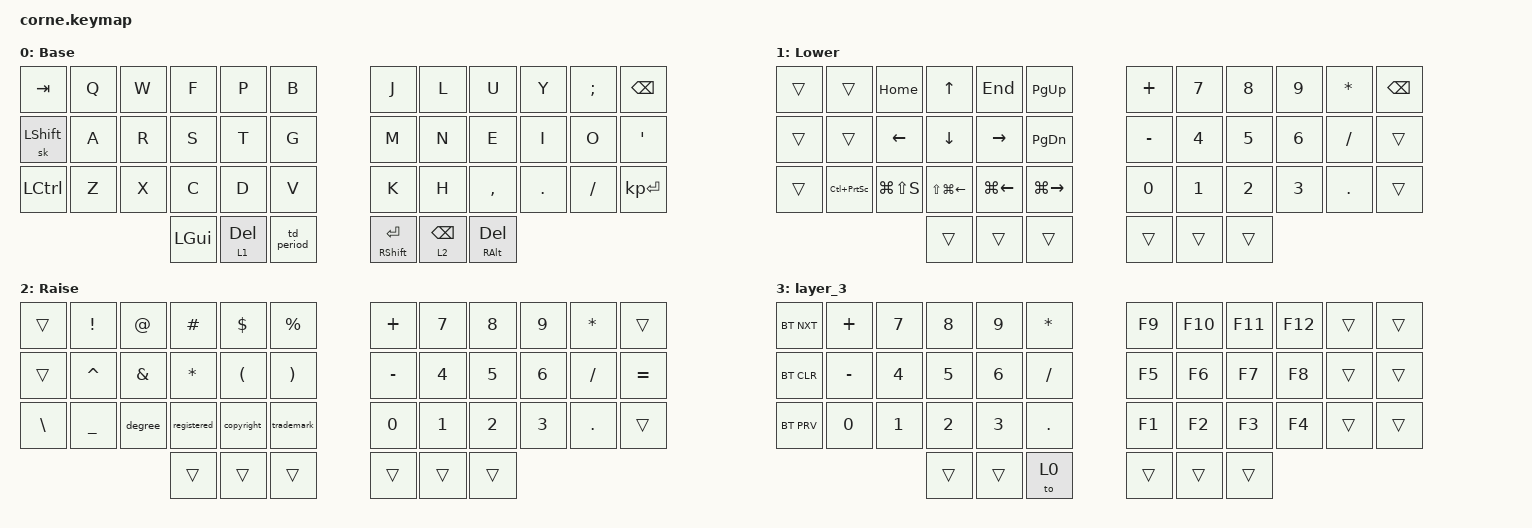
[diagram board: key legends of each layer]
/*
 * Copyright (c) 2020 The ZMK Contributors
 *
 * SPDX-License-Identifier: MIT
 */

#include <behaviors.dtsi>
#include <dt-bindings/zmk/bt.h>
#include <dt-bindings/zmk/keys.h>

/ {
    behaviors {
        td_period: td_period {
            compatible = "zmk,behavior-tap-dance";
            label = "TD_PERIOD";
            #binding-cells = <0>;
            tapping-term-ms = <200>;
            bindings = <&kp SPACE>, <&kp PERIOD>;
        };

        as_ht: autoshift_hold_tap {
            compatible = "zmk,behavior-hold-tap";
            label = "AUTOSHIFT_HOLD_TAP";
            bindings = <&shift>, <&kp>;

            #binding-cells = <2>;
            tapping-term-ms = <200>;
        };
    };

    macros {
        shift: with_lshift {
            compatible = "zmk,behavior-macro-one-param";
            #binding-cells = <1>;
            bindings =
                <&macro_press>,
                <&kp LSHFT>,
                <&macro_tap>,
                <&macro_param_1to1 &kp MACRO_PLACEHOLDER>,
                <&macro_release>,
                <&kp LSHFT>;

            label = "KEY_PRESS_WITH_LEFT_SHIFT_MODIFIER";
        };

        as: as {
            compatible = "zmk,behavior-macro-one-param";
            #binding-cells = <1>;
            bindings =
                <&macro_press>,
                <&macro_param_1to1 &macro_param_1to2 &as_ht MACRO_PLACEHOLDER MACRO_PLACEHOLDER>,
                <&macro_pause_for_release>,
                <&macro_release>,
                <&macro_param_1to1 &macro_param_1to2 &as_ht MACRO_PLACEHOLDER MACRO_PLACEHOLDER>;

            label = "AS";
        };

        degree: degree {
            compatible = "zmk,behavior-macro";
            #binding-cells = <0>;
            bindings =
                <&macro_press>,
                <&kp LEFT_ALT>,
                <&macro_tap>,
                <&kp KP_NUMBER_2 &kp KP_NUMBER_4 &kp KP_NUMBER_8>,
                <&macro_release>,
                <&kp LEFT_ALT>;

            label = "DEGREE";
        };

        copyright: copyright {
            compatible = "zmk,behavior-macro";
            #binding-cells = <0>;
            bindings =
                <&macro_press>,
                <&kp LEFT_ALT>,
                <&macro_tap>,
                <&kp KP_NUMBER_0 &kp KP_NUMBER_1 &kp KP_NUMBER_6 &kp KP_NUMBER_9>,
                <&macro_release>,
                <&kp LEFT_ALT>;

            label = "COPYRIGHT";
        };

        registered: registered {
            compatible = "zmk,behavior-macro";
            #binding-cells = <0>;
            bindings =
                <&macro_press>,
                <&kp LEFT_ALT>,
                <&macro_tap>,
                <&kp KP_NUMBER_0 &kp KP_NUMBER_1 &kp KP_NUMBER_7 &kp KP_NUMBER_4>,
                <&macro_release>,
                <&kp LEFT_ALT>;

            label = "REGISTERED";
        };

        trademark: trademark {
            compatible = "zmk,behavior-macro";
            #binding-cells = <0>;
            bindings =
                <&macro_press>,
                <&kp LEFT_ALT>,
                <&macro_tap>,
                <&kp KP_NUMBER_0 &kp KP_NUMBER_1 &kp KP_NUMBER_5 &kp KP_NUMBER_3>,
                <&macro_release>,
                <&kp LEFT_ALT>;

            label = "TRADEMARK";
        };

        email: email {
            compatible = "zmk,behavior-macro";
            #binding-cells = <0>;
            bindings =
                <&macro_tap>,
                <&kp K &kp I &kp E &kp N &kp H &kp U &kp O &kp DOT &kp C &kp H &kp I &kp N &kp G &kp AT &kp L &kp A &kp C &kp W &kp O &kp R &kp L &kp D &kp W &kp I &kp D &kp E &kp DOT &kp C &kp O &kp M &kp DOT &kp M &kp Y>;

            label = "EMAIL";
        };
    };

    combos {
        compatible = "zmk,combos";

        caps_word {
            bindings = <&caps_word>;
            key-positions = <16 19>;
        };

        numpad {
            bindings = <&tog 3>;
            key-positions = <29 38>;
        };

        Enter {
            bindings = <&kp ENTER>;
            key-positions = <29 28>;
        };

        Escape {
            bindings = <&kp ESC>;
            key-positions = <0 1>;
        };

        L_parenthesis {
            bindings = <&kp LBKT>;
            key-positions = <15 16>;
        };

        R_parenthesis {
            bindings = <&kp RBKT>;
            key-positions = <16 17>;
        };

        email {
            bindings = <&email>;
            key-positions = <27 28 29>;
        };
    };

    keymap {
        compatible = "zmk,keymap";

        default_layer {
            // -----------------------------------------------------------------------------------------
            // |  TAB |  Q  |  W  |  E  |  R  |  T  |   |  Y  |  U   |  I  |  O  |  P  | BKSP |
            // | CTRL |  A  |  S  |  D  |  F  |  G  |   |  H  |  J   |  K  |  L  |  ;  |  '   |
            // | SHFT |  Z  |  X  |  C  |  V  |  B  |   |  N  |  M   |  ,  |  .  |  /  | ESC  |
            //                    | GUI | LWR | SPC |   | ENT | RSE  | ALT |

            label = "Base";
            bindings = <
&kp TAB           &kp Q  &kp W  &kp F         &kp P      &kp B         &kp J                  &kp L            &kp U              &kp Y    &kp SEMI  &kp BSPC
&sk LEFT_SHIFT    &kp A  &kp R  &kp S         &kp T      &kp G         &kp M                  &kp N            &kp E              &kp I    &kp O     &kp SQT
&kp LEFT_CONTROL  &kp Z  &kp X  &kp C         &kp D      &kp V         &kp K                  &kp H            &kp COMMA          &kp DOT  &kp FSLH  &kp KP_ENTER
                                &kp LEFT_GUI  &lt 1 DEL  &td_period    &mt RIGHT_SHIFT ENTER  &lt 2 BACKSPACE  &mt RIGHT_ALT DEL
            >;
        };

        nav_num {
            // -----------------------------------------------------------------------------------------
            // |  TAB |  1  |  2  |  3  |  4  |  5  |   |  6  |  7  |  8  |  9  |  0  | BKSP |
            // | BTCLR| BT1 | BT2 | BT3 | BT4 | BT5 |   | LFT | DWN |  UP | RGT |     |      |
            // | SHFT |     |     |     |     |     |   |     |     |     |     |     |      |
            //                    | GUI |     | SPC |   | ENT |     | ALT |

            label = "Lower";
            bindings = <
&trans  &trans               &kp HOME       &kp UP            &kp END       &kp PG_UP        &kp PLUS   &kp N7  &kp N8  &kp N9  &kp ASTERISK  &kp BSPC
&trans  &trans               &kp LEFT       &kp DOWN          &kp RIGHT     &kp PG_DN        &kp MINUS  &kp N4  &kp N5  &kp N6  &kp SLASH     &trans
&trans  &kp LC(PRINTSCREEN)  &kp LG(LS(S))  &kp LS(LG(LEFT))  &kp LG(LEFT)  &kp LG(RIGHT)    &kp N0     &kp N1  &kp N2  &kp N3  &kp DOT       &trans
                                            &trans            &trans        &trans           &trans     &trans  &trans
            >;
        };

        sym_num {
            // -----------------------------------------------------------------------------------------
            // |  TAB |  !  |  @  |  #  |  $  |  %  |   |  ^  |  &  |  *  |  (  |  )  | BKSP |
            // | CTRL |     |     |     |     |     |   |  -  |  =  |  [  |  ]  |  \  |  `   |
            // | SHFT |     |     |     |     |     |   |  _  |  +  |  {  |  }  | "|" |  ~   |
            //                    | GUI |     | SPC |   | ENT |     | ALT |

            label = "Raise";
            bindings = <
&trans    &kp EXCLAMATION  &kp AT_SIGN    &kp POUND    &kp DOLLAR            &kp PERCENT              &kp PLUS      &kp N7        &kp N8  &kp N9  &kp STAR  &trans
&trans    &kp CARET        &kp AMPERSAND  &kp ASTRK    &kp LEFT_PARENTHESIS  &kp RIGHT_PARENTHESIS    &kp MINUS     &kp N4        &kp N5  &kp N6  &kp FSLH  &kp EQUAL
&kp BSLH  &kp UNDER        &degree        &registered  &copyright            &trademark               &kp NUMBER_0  &kp NUMBER_1  &kp N2  &kp N3  &kp DOT   &trans
                                          &trans       &trans                &trans                   &trans        &trans        &trans
            >;
        };

        layer_3 {
            bindings = <
&bt BT_NXT  &kp PLUS   &kp N7  &kp N8  &kp N9  &kp STAR    &kp F9  &kp F10  &kp F11  &kp F12  &trans  &trans
&bt BT_CLR  &kp MINUS  &kp N4  &kp N5  &kp N6  &kp FSLH    &kp F5  &kp F6   &kp F7   &kp F8   &trans  &trans
&bt BT_PRV  &kp N0     &kp N1  &kp N2  &kp N3  &kp DOT     &kp F1  &kp F2   &kp F3   &kp F4   &trans  &trans
                               &trans  &trans  &to 0       &trans  &trans   &trans
            >;
        };
    };

    conditional_layers {
        compatible = "zmk,conditional-layers";

        layer3 {
            if-layers = <1 2>;
            then-layer = <3>;
        };
    };
};
